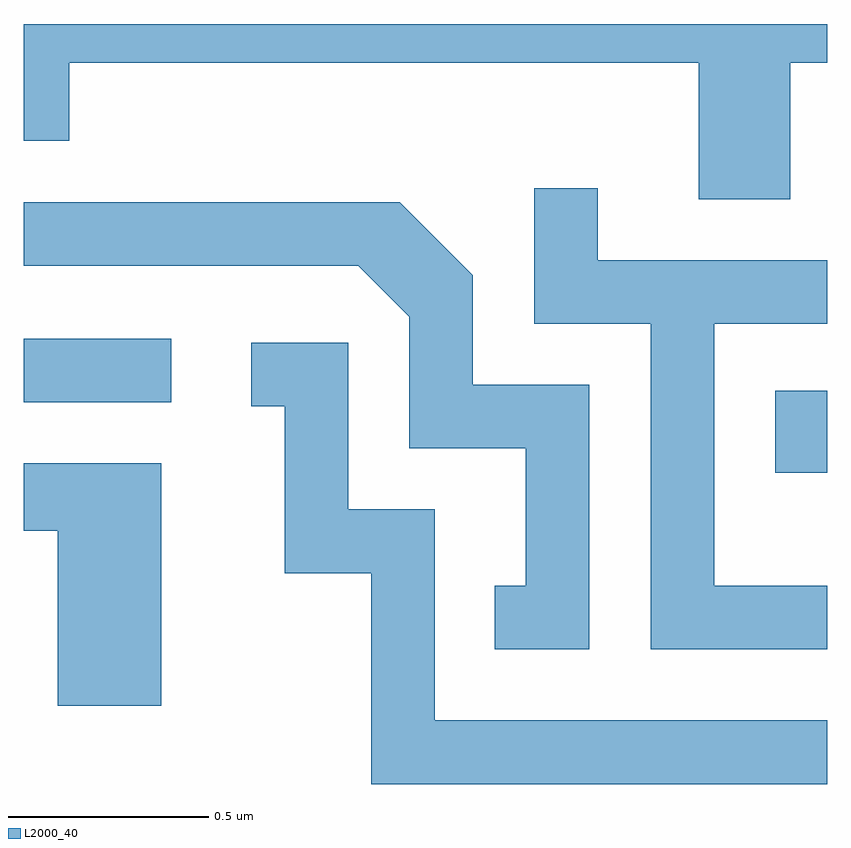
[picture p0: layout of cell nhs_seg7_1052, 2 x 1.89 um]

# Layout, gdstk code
import gdstk
lib = gdstk.Library(unit=1e-6, precision=1e-09)
def R(c, l, rs):  # rectangles x0, y0, x1, y1
    for r in rs: c.add(gdstk.rectangle(r[:2], r[2:], *l))
def P(c, l, *ps):  # polygons
    for p in ps: c.add(gdstk.Polygon(p, *l))
L2000_40 = (2000, 40)

nhs_seg7_1052 = lib.new_cell('nhs_seg7_1052')
R(nhs_seg7_1052, L2000_40, [(194.481,1762.136,194.611,1762.339), (192.611,1762.311,192.978,1762.469)])
P(nhs_seg7_1052, L2000_40, [(194.519,1763.156),(194.611,1763.156),(194.611,1763.252),(192.611,1763.252),(192.611,1762.961),(192.724,1762.961),(192.724,1763.156),(194.291,1763.156),(194.291,1762.816),(194.519,1762.816)],
  [(194.611,1761.854),(194.329,1761.854),(194.329,1762.506),(194.611,1762.506),(194.611,1762.664),(194.039,1762.664),(194.039,1762.843),(193.881,1762.843),(193.881,1762.506),(194.171,1762.506),(194.171,1761.696),(194.611,1761.696)],
  [(194.019,1762.354),(193.729,1762.354),(193.729,1762.627),(193.547,1762.809),(192.611,1762.809),(192.611,1762.651),(193.444,1762.651),(193.571,1762.524),(193.571,1762.196),(193.861,1762.196),(193.861,1761.854),(193.783,1761.854),(193.783,1761.696),(194.019,1761.696)],
  [(194.611,1761.519),(193.634,1761.519),(193.634,1762.044),(193.419,1762.044),(193.419,1762.459),(193.178,1762.459),(193.178,1762.301),(193.261,1762.301),(193.261,1761.886),(193.476,1761.886),(193.476,1761.361),(194.611,1761.361)],
  [(192.954,1762.159),(192.611,1762.159),(192.611,1761.991),(192.696,1761.991),(192.696,1761.556),(192.954,1761.556)])

lib.write_gds('nhs_seg7_1052.gds')
